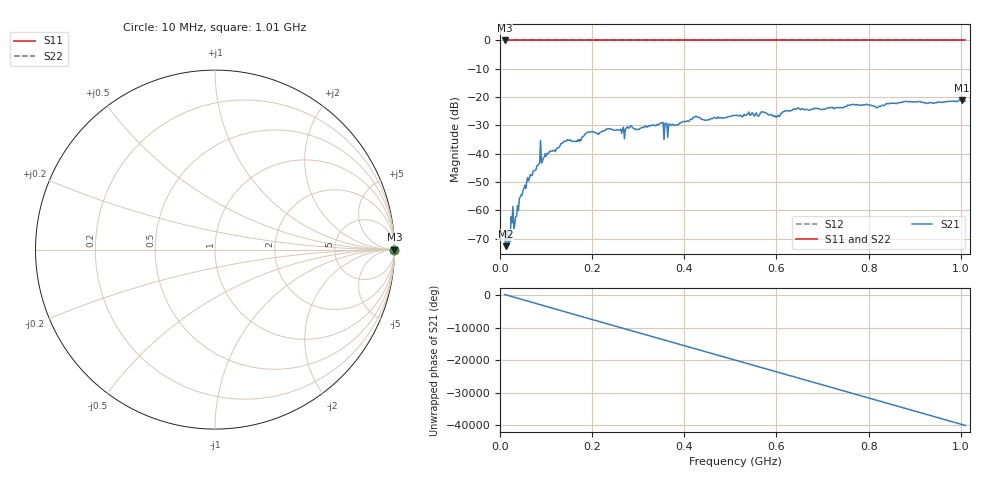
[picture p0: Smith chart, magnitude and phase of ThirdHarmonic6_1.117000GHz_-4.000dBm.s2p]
! 8/16/2025 10:41:44 AM
! C:\ANRITSUVNA\TEMP\TEMP.S2P
! CHANNEL.1
! TR.MEASUREMENT
! RAW.DATA
! RF.CORRECTION.OFF
! AVERAGING.OFF
! IF.BANDWIDTH: 5KHZ
! SWEEPTYPE:  FREQ.SWEEP(Linear)
! Reference Plane Port Info
! PORT:  PORT1  PORT2
! DISTANCE:  0  m  0  m
! TIME:  0  s  0  s
! PHASE.OFFSET:  0  deg.  0  deg.
! LOSS:  0  dB  0  dB
! REF.LOSS:  0  dB  0  dB
! REF.FREQ:  0  Hz  0  Hz
! Power Info
! POWER:  -20  dBm  -20  dBm
! EFF.POWER:  -20  dBm  -20  dBm
! SOURCE.ATTEN:  0  dB  0  dB
! TEST.ATTEN:  0  dB  0  dB
# GHZ S RI R 50.0
! FREQ.GHZ  S11RE  S11IM  S21RE  S21IM  S12RE  S12IM  S22RE  S22IM
!; PortSelection: Port_12
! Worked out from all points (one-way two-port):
!   501 points, 10 MHz to 1.01 GHz, reference 50 ohm
!   highest |S21| = -21.00 dB at 1.002 GHz (marker M1); lowest = -72.6 dB at 12 MHz (marker M2)
!   lowest |S11| = 0.0 dB at 10 MHz (marker M3)
!   |S11| at or under -10 dB: nowhere
!   |S22| runs from 0.0 to 0.0 dB; largest |S21 - S12| = 1.1
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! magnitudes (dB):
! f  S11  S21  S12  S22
! 10 MHz  0.0  -67.9  0.0  0.0
! 12 MHz  0.0  -72.6  0.0  0.0
! 18 MHz  0.0  -72.0  0.0  0.0
! 28 MHz  0.0  -58.7  0.0  0.0
! 34 MHz  0.0  -62.3  0.0  0.0
! 46 MHz  0.0  -54.5  0.0  0.0
! 82 MHz  0.0  -44.0  0.0  0.0
! 84 MHz  0.0  -43.9  0.0  0.0
! 142 MHz  0.0  -35.6  0.0  0.0
! 178 MHz  0.0  -34.1  0.0  0.0
! 194 MHz  0.0  -32.4  0.0  0.0
! 344 MHz  0.0  -29.8  0.0  0.0
! 360 MHz  0.0  -29.3  0.0  0.0
! 424 MHz  0.0  -26.9  0.0  0.0
! 510 MHz  0.0  -26.5  0.0  0.0
! 572 MHz  0.0  -25.4  0.0  0.0
! 602 MHz  0.0  -26.6  0.0  0.0
! 644 MHz  0.0  -24.2  0.0  0.0
! 678 MHz  0.0  -24.4  0.0  0.0
! 844 MHz  0.0  -22.3  0.0  0.0
! 1.002 GHz  0.0  -21.0  0.0  0.0
! 1.01 GHz  0.0  -21.5  0.0  0.0
